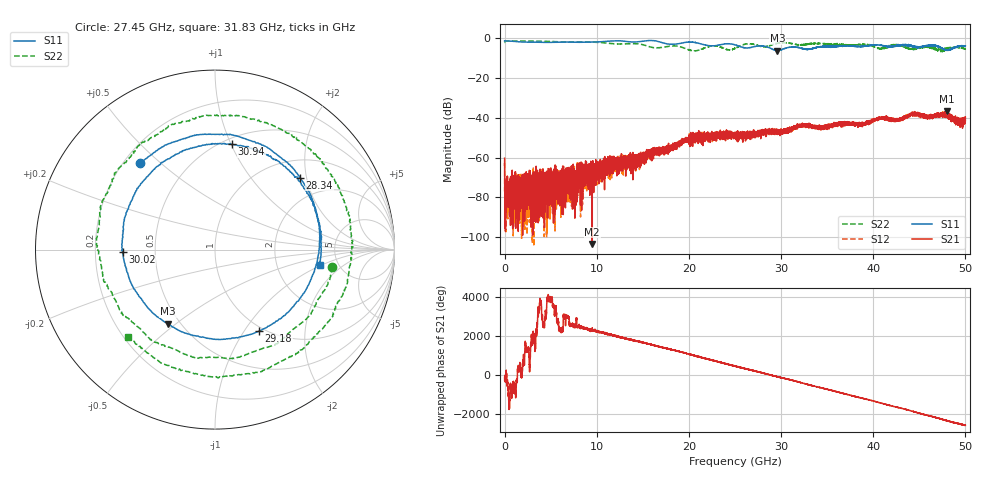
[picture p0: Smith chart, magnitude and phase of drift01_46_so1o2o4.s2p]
!Created with skrf (http://scikit-rf.org).
# Hz S RI R 50.0
!freq ReS11 ImS11 ReS21 ImS21 ReS12 ImS12 ReS22 ImS22
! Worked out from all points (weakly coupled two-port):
!   10001 points, 300 kHz to 50 GHz, reference 50 ohm
!   highest |S21| = -36.67 dB at 48.01 GHz (marker M1); lowest = -103.3 dB at 9.51 GHz (marker M2)
!   lowest |S11| = -6.2 dB at 29.61 GHz (marker M3), VSWR 2.91, Z = 21.6 - j23.4 ohm
!   |S11| at or under -10 dB: nowhere
!   |S22| runs from -6.8 to -1.4 dB; largest |S21 - S12| = 0.004
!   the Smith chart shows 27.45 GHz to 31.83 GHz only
!   S11 on the Smith chart (normalised r, x): 27.45 GHz: 0.27, +0.43; 28.34 GHz: 1.40, +1.84; 29.18 GHz: 0.95, -1.17; 30.02 GHz: 0.32, -0.01; 30.94 GHz: 0.56, +1.01; 31.83 GHz: 3.59, -0.96
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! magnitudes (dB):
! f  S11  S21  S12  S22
! 300 kHz  -1.3  -60.3  -62.4  -2.1
! 255.3 MHz  -1.4  -72.2  -79.5  -1.4
! 400.3 MHz  -1.4  -72.6  -74.0  -1.4
! 4.39 GHz  -2.1  -73.1  -82.8  -1.6
! 8.335 GHz  -2.0  -79.8  -66.6  -1.8
! 9.51 GHz  -1.9  -103.3  -64.7  -2.0
! 16.67 GHz  -1.6  -56.8  -55.8  -4.8
! 20.7 GHz  -2.2  -49.2  -50.5  -6.4
! 22.59 GHz  -3.9  -49.9  -48.9  -3.8
! 25 GHz  -3.3  -48.9  -49.6  -5.1
! 27.45 GHz  -3.9  -48.0  -48.0  -3.6
! 28.34 GHz  -4.1  -46.5  -48.1  -4.2
! 29.18 GHz  -5.7  -46.9  -47.3  -3.2
! 29.61 GHz  -6.2  -47.1  -47.8  -2.5
! 30.02 GHz  -5.8  -46.0  -46.6  -2.4
! 30.94 GHz  -4.5  -45.6  -46.2  -2.6
! 31.83 GHz  -4.6  -44.5  -44.0  -3.2
! 33.34 GHz  -5.3  -44.6  -43.6  -2.7
! 41.67 GHz  -4.3  -40.9  -40.5  -4.3
! 46.43 GHz  -3.5  -38.7  -39.1  -4.7
! 48.01 GHz  -6.0  -36.7  -38.2  -5.9
! 50 GHz  -3.9  -40.3  -41.1  -5.4
